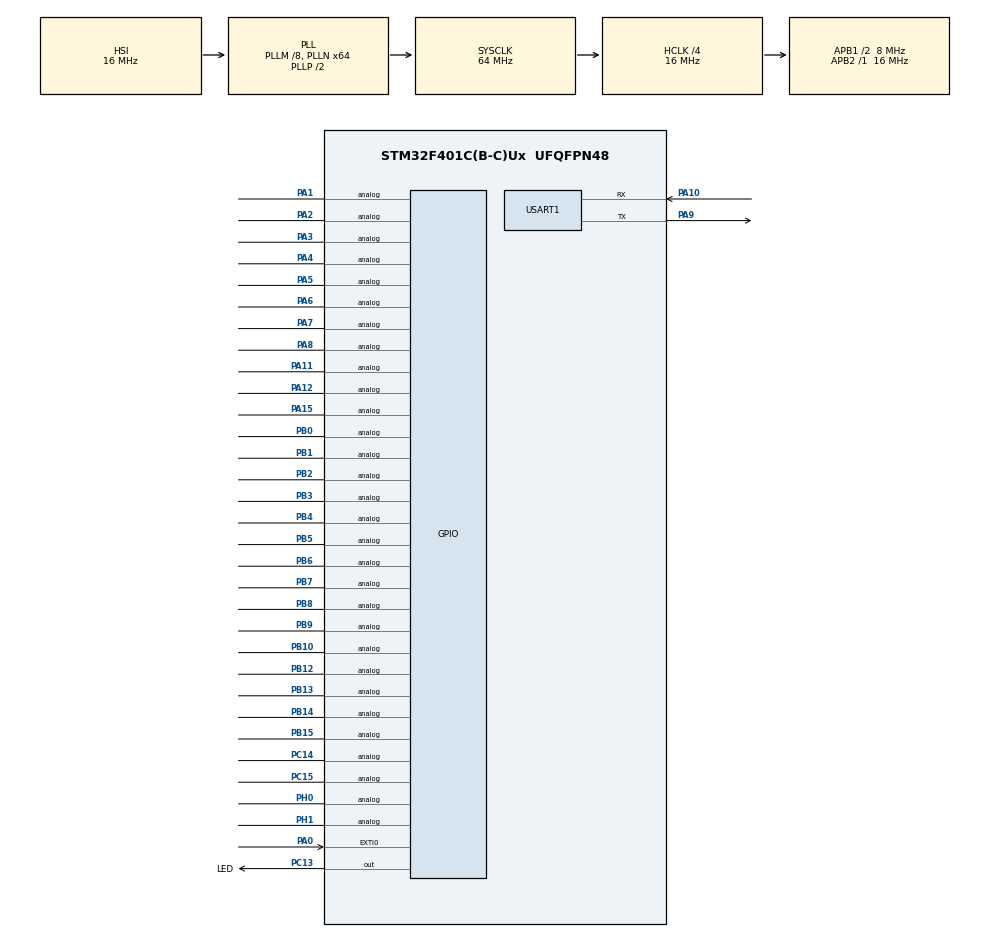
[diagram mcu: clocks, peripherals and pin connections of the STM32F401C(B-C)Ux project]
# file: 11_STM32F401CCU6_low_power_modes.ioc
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Mcu.Family=STM32F4
Mcu.Name=STM32F401C(B-C)Ux
Mcu.Package=UFQFPN48
NVIC.EXTI0_IRQn=true\:0\:0\:false\:false\:true\:true\:true\:true
NVIC.PriorityGroup=NVIC_PRIORITYGROUP_4
NVIC.RTC_WKUP_IRQn=true\:0\:0\:false\:false\:true\:true\:true\:true
PA0-WKUP.GPIO_ModeDefaultEXTI=GPIO_MODE_IT_RISING
PA0-WKUP.GPIO_PuPd=GPIO_PULLDOWN
PA0-WKUP.Signal=GPXTI0
PA1.Signal=GPIO_Analog
PA10.Mode=Asynchronous
PA10.Signal=USART1_RX
PA11.Signal=GPIO_Analog
PA12.Signal=GPIO_Analog
PA13.Mode=Serial_Wire
PA13.Signal=SYS_JTMS-SWDIO
PA14.Mode=Serial_Wire
PA14.Signal=SYS_JTCK-SWCLK
PA15.Signal=GPIO_Analog
PA2.Signal=GPIO_Analog
PA3.Signal=GPIO_Analog
PA4.Signal=GPIO_Analog
PA5.Signal=GPIO_Analog
PA6.Signal=GPIO_Analog
PA7.Signal=GPIO_Analog
PA8.Signal=GPIO_Analog
PA9.Mode=Asynchronous
PA9.Signal=USART1_TX
PB0.Signal=GPIO_Analog
PB1.Signal=GPIO_Analog
PB10.Signal=GPIO_Analog
PB12.Signal=GPIO_Analog
PB13.Signal=GPIO_Analog
PB14.Signal=GPIO_Analog
PB15.Signal=GPIO_Analog
PB2.Signal=GPIO_Analog
PB3.Signal=GPIO_Analog
PB4.Signal=GPIO_Analog
PB5.Signal=GPIO_Analog
PB6.Signal=GPIO_Analog
PB7.Signal=GPIO_Analog
PB8.Signal=GPIO_Analog
PB9.Signal=GPIO_Analog
PC13-ANTI_TAMP.GPIO_Label=LED
PC13-ANTI_TAMP.Signal=GPIO_Output
PC14-OSC32_IN.Signal=GPIO_Analog
PC15-OSC32_OUT.Signal=GPIO_Analog
PH0\ -\ OSC_IN.Signal=GPIO_Analog
PH1\ -\ OSC_OUT.Signal=GPIO_Analog
ProjectManager.HeapSize=0x200
ProjectManager.StackSize=0x400
ProjectManager.TargetToolchain=STM32CubeIDE
RCC.48MHZClocksFreq_Value=32000000
RCC.AHBCLKDivider=RCC_SYSCLK_DIV4
RCC.AHBFreq_Value=16000000
RCC.APB1CLKDivider=RCC_HCLK_DIV2
RCC.APB1Freq_Value=8000000
RCC.APB1TimFreq_Value=16000000
RCC.APB2Freq_Value=16000000
RCC.APB2TimFreq_Value=16000000
RCC.CortexFreq_Value=16000000
RCC.HCLKFreq_Value=16000000
RCC.HSE_VALUE=25000000
RCC.HSI_VALUE=16000000
RCC.LSE_VALUE=32768
RCC.PLLM=8
RCC.PLLN=64
RCC.SYSCLKFreq_VALUE=64000000
RCC.SYSCLKSource=RCC_SYSCLKSOURCE_PLLCLK
RCC.VCOOutputFreq_Value=128000000
USART1.VirtualMode=VM_ASYNC
VP_RTC_VS_RTC_Activate.Mode=RTC_Enabled
VP_RTC_VS_RTC_WakeUp_intern.Mode=WakeUp
board=custom

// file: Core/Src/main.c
/* USER CODE BEGIN Header */
/**
  ******************************************************************************
  * @file           : main.c
  * @brief          : Main program body
  ******************************************************************************
  * @attention
  *
  * Copyright (c) 2026 STMicroelectronics.
  * All rights reserved.
  *
  * This software is licensed under terms that can be found in the LICENSE file
  * in the root directory of this software component.
  * If no LICENSE file comes with this software, it is provided AS-IS.
  *
  ******************************************************************************
  */
/* USER CODE END Header */
#include "main.h"

/* USER CODE BEGIN Includes */
#include "stdbool.h"
#include "power_manager.h"
/* USER CODE END Includes */

/* USER CODE BEGIN PTD */
static power_reset_source_t reset_source;
/* USER CODE END PTD */

RTC_HandleTypeDef hrtc;

UART_HandleTypeDef huart1;

void SystemClock_Config(void);
static void MX_GPIO_Init(void);
static void MX_RTC_Init(void);
static void MX_USART1_UART_Init(void);

/* USER CODE BEGIN 0 */

void set_led(uint8_t state)
{
	if(state == 0)
	{
		HAL_GPIO_WritePin(GPIOC, LED_Pin, GPIO_PIN_SET);
	}
	if(state == 1)
	{
		HAL_GPIO_WritePin(GPIOC, LED_Pin, GPIO_PIN_RESET);
	}
}

/* USER CODE END 0 */

int main(void)
{

  /* MCU Configuration--------------------------------------------------------*/

  /* Reset of all peripherals, Initializes the Flash interface and the Systick. */
  HAL_Init();

  /* USER CODE BEGIN Init */
  reset_source = power_manager_detect_reset_source(&hrtc);
//  stanby_mode_check_interrupt_sourse();

  /* USER CODE END Init */

  /* Configure the system clock */
  SystemClock_Config();

  /* Initialize all configured peripherals */
  MX_GPIO_Init();
  MX_RTC_Init();
  MX_USART1_UART_Init();
  /* USER CODE BEGIN 2 */

  power_manager_config_t power_config =
  {
		  .hrtc = &hrtc,
		  .rtc_wakeup_counter = 18132U,
		  .rtc_wakeup_clock = RTC_WAKEUPCLOCK_RTCCLK_DIV16,
		  .wakeup_pin = PWR_WAKEUP_PIN1,
		  .button_gpio_pin = GPIO_PIN_0
  };

  if(power_manager_init(&power_config) == false)
  {
	  Error_Handler();
  }

  // Іефкегз идштл
  for(uint8_t i = 0; i<20; i++)
  {
	  set_led(1);
 	  HAL_Delay(100);
 	  set_led(0);
 	  HAL_Delay(100);
   }
   set_led(0);

  /* USER CODE END 2 */

  /* Infinite loop */
  /* USER CODE BEGIN WHILE */
  while (1)
  {
//	  // 1. Sleep mode 2.5 mA///////////////////////////////////////////////////////////////////////////////////////
//	  power_manager_enter_sleep();
//	  //////////////////////////////////////////////////////////////////////////////////////////////////////////////

	  // 3. Stendby mode 130 uA + RTC 10 sec, +wakeup button ////////////////////////////////////////////////////////
	  if(power_manager_configure_rtc_wakeup() == false)
	  {
		  Error_Handler();
	  }

	  while(1)
	  {
		  power_wakeup_source_t sourse = power_manager_get_wakeup_source();
		  if(sourse == POWER_WAKEUP_SOURCE_RTC)
		  {
			  char buff[50] = "Wakeup from RTC\n\r";
			  HAL_UART_Transmit(&huart1,(uint8_t*) buff, strlen(buff), HAL_MAX_DELAY);

			  set_led(1);
			  HAL_Delay(100);
			  set_led(0);
		  }
		  else if(sourse == POWER_WAKEUP_SOURCE_BUTTON)
		  {
			  char buff[50] = "Wake up from BUTTON\n\r";
			  HAL_UART_Transmit(&huart1,(uint8_t*) buff, strlen(buff), HAL_MAX_DELAY);

			  for(uint8_t i = 0; i < 10; i++)
			  {
				  set_led(1);
				  HAL_Delay(50);
				  set_led(0);
				  HAL_Delay(50);
			  }
		  }
		  power_manager_clear_wakeup_source();
		  power_manager_enter_stop();
	  }
////////////////////////////////////////////////////////////////////////////////////////////////////////////////////

//	  // 3. Stendby mode 16.5uA + RTC 10 sec, +wakeup button ///////////////////////////////////////////////////////
//	  switch(reset_source)
//	  {
//	  	  case POWER_RESET_SOURCE_STANDBY_RTC  :
//	  	  {
//	  		  char buff[50] = "Wakeup from RTC\n\r";
//	  		  HAL_UART_Transmit(&huart1,(uint8_t*) buff, strlen(buff), HAL_MAX_DELAY);
//
//	  		  set_led(1);
//	  		  HAL_Delay(100);
//	  		  set_led(0);
//
//	  		  break;
//	  	  }
//
//	  	  case POWER_RESET_SOURCE_STANDBY_BUTTON:
//	  	  {
//	  		  char buff[50] = "Wake up from BUTTON\n\r";
//	  		  HAL_UART_Transmit(&huart1,(uint8_t*) buff, strlen(buff), HAL_MAX_DELAY);
//
//	  		  for(uint8_t i = 0; i < 10; i++)
//	  		  {
//	  			  set_led(1);
//	  			  HAL_Delay(50);
//	  			  set_led(0);
//	  			  HAL_Delay(50);
//	  		  }
//	  		  break;
//	  	  }
//	  	  case POWER_RESET_SOURCE_POWER_ON:
//	  	  default:
//	  	  {
//	  		  char buff[50] = "Wakeup from reset\n\r";
//	  		  HAL_UART_Transmit(&huart1,(uint8_t*) buff, strlen(buff), HAL_MAX_DELAY);
//	  		  break;
//	  	  }
//	  }
//	  power_manager_enter_standby();
	  //////////////////////////////////////////////////////////////////////////////////////////////////////////////

    /* USER CODE END WHILE */

  }
}

void SystemClock_Config(void)
{
  RCC_OscInitTypeDef RCC_OscInitStruct = {0};
  RCC_ClkInitTypeDef RCC_ClkInitStruct = {0};

  /** Configure the main internal regulator output voltage
  */
  __HAL_RCC_PWR_CLK_ENABLE();
  __HAL_PWR_VOLTAGESCALING_CONFIG(PWR_REGULATOR_VOLTAGE_SCALE2);

  /** Initializes the RCC Oscillators according to the specified parameters
  * in the RCC_OscInitTypeDef structure.
  */
  RCC_OscInitStruct.OscillatorType = RCC_OSCILLATORTYPE_HSI|RCC_OSCILLATORTYPE_LSI;
  RCC_OscInitStruct.HSIState = RCC_HSI_ON;
  RCC_OscInitStruct.HSICalibrationValue = RCC_HSICALIBRATION_DEFAULT;
  RCC_OscInitStruct.LSIState = RCC_LSI_ON;
  RCC_OscInitStruct.PLL.PLLState = RCC_PLL_ON;
  RCC_OscInitStruct.PLL.PLLSource = RCC_PLLSOURCE_HSI;
  RCC_OscInitStruct.PLL.PLLM = 8;
  RCC_OscInitStruct.PLL.PLLN = 64;
  RCC_OscInitStruct.PLL.PLLP = RCC_PLLP_DIV2;
  RCC_OscInitStruct.PLL.PLLQ = 4;
  if (HAL_RCC_OscConfig(&RCC_OscInitStruct) != HAL_OK)
  {
    Error_Handler();
  }

  /** Initializes the CPU, AHB and APB buses clocks
  */
  RCC_ClkInitStruct.ClockType = RCC_CLOCKTYPE_HCLK|RCC_CLOCKTYPE_SYSCLK
                              |RCC_CLOCKTYPE_PCLK1|RCC_CLOCKTYPE_PCLK2;
  RCC_ClkInitStruct.SYSCLKSource = RCC_SYSCLKSOURCE_PLLCLK;
  RCC_ClkInitStruct.AHBCLKDivider = RCC_SYSCLK_DIV4;
  RCC_ClkInitStruct.APB1CLKDivider = RCC_HCLK_DIV2;
  RCC_ClkInitStruct.APB2CLKDivider = RCC_HCLK_DIV1;

  if (HAL_RCC_ClockConfig(&RCC_ClkInitStruct, FLASH_LATENCY_0) != HAL_OK)
  {
    Error_Handler();
  }
}

static void MX_RTC_Init(void)
{

  RTC_TimeTypeDef sTime = {0};
  RTC_DateTypeDef sDate = {0};

  /** Initialize RTC Only
  */
  hrtc.Instance = RTC;
  hrtc.Init.HourFormat = RTC_HOURFORMAT_24;
  hrtc.Init.AsynchPrediv = 127;
  hrtc.Init.SynchPrediv = 255;
  hrtc.Init.OutPut = RTC_OUTPUT_DISABLE;
  hrtc.Init.OutPutPolarity = RTC_OUTPUT_POLARITY_HIGH;
  hrtc.Init.OutPutType = RTC_OUTPUT_TYPE_OPENDRAIN;
  if (HAL_RTC_Init(&hrtc) != HAL_OK)
  {
    Error_Handler();
  }

  /** Initialize RTC and set the Time and Date
  */
  sTime.Hours = 0x0;
  sTime.Minutes = 0x0;
  sTime.Seconds = 0x0;
  sTime.DayLightSaving = RTC_DAYLIGHTSAVING_NONE;
  sTime.StoreOperation = RTC_STOREOPERATION_RESET;
  if (HAL_RTC_SetTime(&hrtc, &sTime, RTC_FORMAT_BCD) != HAL_OK)
  {
    Error_Handler();
  }
  sDate.WeekDay = RTC_WEEKDAY_MONDAY;
  sDate.Month = RTC_MONTH_JANUARY;
  sDate.Date = 0x1;
  sDate.Year = 0x0;

  if (HAL_RTC_SetDate(&hrtc, &sDate, RTC_FORMAT_BCD) != HAL_OK)
  {
    Error_Handler();
  }

  /** Enable the WakeUp
  */
  if (HAL_RTCEx_SetWakeUpTimer_IT(&hrtc, 0, RTC_WAKEUPCLOCK_RTCCLK_DIV16) != HAL_OK)
  {
    Error_Handler();
  }

}

static void MX_USART1_UART_Init(void)
{

  huart1.Instance = USART1;
  huart1.Init.BaudRate = 115200;
  huart1.Init.WordLength = UART_WORDLENGTH_8B;
  huart1.Init.StopBits = UART_STOPBITS_1;
  huart1.Init.Parity = UART_PARITY_NONE;
  huart1.Init.Mode = UART_MODE_TX_RX;
  huart1.Init.HwFlowCtl = UART_HWCONTROL_NONE;
  huart1.Init.OverSampling = UART_OVERSAMPLING_16;
  if (HAL_UART_Init(&huart1) != HAL_OK)
  {
    Error_Handler();
  }

}

static void MX_GPIO_Init(void)
{
  GPIO_InitTypeDef GPIO_InitStruct = {0};

  /* GPIO Ports Clock Enable */
  __HAL_RCC_GPIOC_CLK_ENABLE();
  __HAL_RCC_GPIOH_CLK_ENABLE();
  __HAL_RCC_GPIOA_CLK_ENABLE();
  __HAL_RCC_GPIOB_CLK_ENABLE();

  /*Configure GPIO pin Output Level */
  HAL_GPIO_WritePin(LED_GPIO_Port, LED_Pin, GPIO_PIN_RESET);

  /*Configure GPIO pin : LED_Pin */
  GPIO_InitStruct.Pin = LED_Pin;
  GPIO_InitStruct.Mode = GPIO_MODE_OUTPUT_PP;
  GPIO_InitStruct.Pull = GPIO_NOPULL;
  GPIO_InitStruct.Speed = GPIO_SPEED_FREQ_LOW;
  HAL_GPIO_Init(LED_GPIO_Port, &GPIO_InitStruct);

  /*Configure GPIO pins : PC14 PC15 */
  GPIO_InitStruct.Pin = GPIO_PIN_14|GPIO_PIN_15;
  GPIO_InitStruct.Mode = GPIO_MODE_ANALOG;
  GPIO_InitStruct.Pull = GPIO_NOPULL;
  HAL_GPIO_Init(GPIOC, &GPIO_InitStruct);

  /*Configure GPIO pins : PH0 PH1 */
  GPIO_InitStruct.Pin = GPIO_PIN_0|GPIO_PIN_1;
  GPIO_InitStruct.Mode = GPIO_MODE_ANALOG;
  GPIO_InitStruct.Pull = GPIO_NOPULL;
  HAL_GPIO_Init(GPIOH, &GPIO_InitStruct);

  /*Configure GPIO pin : PA0 */
  GPIO_InitStruct.Pin = GPIO_PIN_0;
  GPIO_InitStruct.Mode = GPIO_MODE_IT_RISING;
  GPIO_InitStruct.Pull = GPIO_PULLDOWN;
  HAL_GPIO_Init(GPIOA, &GPIO_InitStruct);

  /*Configure GPIO pins : PA1 PA2 PA3 PA4
                           PA5 PA6 PA7 PA8
                           PA11 PA12 PA15 */
  GPIO_InitStruct.Pin = GPIO_PIN_1|GPIO_PIN_2|GPIO_PIN_3|GPIO_PIN_4
                          |GPIO_PIN_5|GPIO_PIN_6|GPIO_PIN_7|GPIO_PIN_8
                          |GPIO_PIN_11|GPIO_PIN_12|GPIO_PIN_15;
  GPIO_InitStruct.Mode = GPIO_MODE_ANALOG;
  GPIO_InitStruct.Pull = GPIO_NOPULL;
  HAL_GPIO_Init(GPIOA, &GPIO_InitStruct);

  /*Configure GPIO pins : PB0 PB1 PB2 PB10
                           PB12 PB13 PB14 PB15
                           PB3 PB4 PB5 PB6
                           PB7 PB8 PB9 */
  GPIO_InitStruct.Pin = GPIO_PIN_0|GPIO_PIN_1|GPIO_PIN_2|GPIO_PIN_10
                          |GPIO_PIN_12|GPIO_PIN_13|GPIO_PIN_14|GPIO_PIN_15
                          |GPIO_PIN_3|GPIO_PIN_4|GPIO_PIN_5|GPIO_PIN_6
                          |GPIO_PIN_7|GPIO_PIN_8|GPIO_PIN_9;
  GPIO_InitStruct.Mode = GPIO_MODE_ANALOG;
  GPIO_InitStruct.Pull = GPIO_NOPULL;
  HAL_GPIO_Init(GPIOB, &GPIO_InitStruct);

  /* EXTI interrupt init*/
  HAL_NVIC_SetPriority(EXTI0_IRQn, 0, 0);
  HAL_NVIC_EnableIRQ(EXTI0_IRQn);

}

void Error_Handler(void)
{
  __disable_irq();
  while (1)
  {
  }
}
